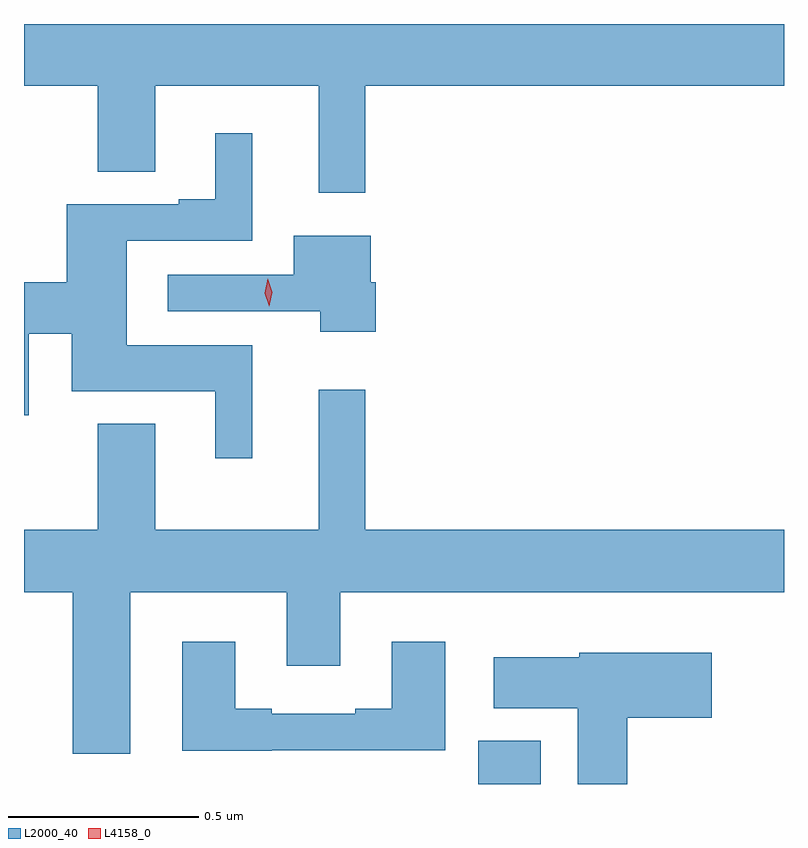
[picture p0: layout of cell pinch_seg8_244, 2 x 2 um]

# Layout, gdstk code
import gdstk
lib = gdstk.Library(unit=1e-6, precision=1e-09)
def R(c, l, rs):  # rectangles x0, y0, x1, y1
    for r in rs: c.add(gdstk.rectangle(r[:2], r[2:], *l))
def P(c, l, *ps):  # polygons
    for p in ps: c.add(gdstk.Polygon(p, *l))
L2000_40 = (2000, 40)
L4158_0 = (4158, 0)

pinch_seg8_244 = lib.new_cell('pinch_seg8_244')
R(pinch_seg8_244, L2000_40, [(805.571,1115.995,805.735,1116.109)])
P(pinch_seg8_244, L2000_40, [(805.273,1117.832),(806.375,1117.832),(806.375,1117.995),(804.375,1117.995),(804.375,1117.832),(804.569,1117.832),(804.569,1117.606),(804.721,1117.606),(804.721,1117.832),(805.151,1117.832),(805.151,1117.551),(805.273,1117.551)],
  [(804.976,1117.15),(804.646,1117.15),(804.646,1117.425),(804.976,1117.425),(804.976,1117.708),(804.878,1117.708),(804.878,1117.534),(804.782,1117.534),(804.782,1117.521),(804.488,1117.521),(804.488,1117.316),(804.375,1117.316),(804.375,1116.966),(804.387,1116.966),(804.387,1117.18),(804.5,1117.18),(804.5,1117.028),(804.878,1117.028),(804.878,1116.852),(804.976,1116.852)],
  [(805.301,1117.316),(805.288,1117.316),(805.288,1117.438),(805.085,1117.438),(805.085,1117.335),(804.753,1117.335),(804.753,1117.239),(805.154,1117.239),(805.154,1117.185),(805.301,1117.185)],
  [(804.655,1116.5),(805.067,1116.5),(805.067,1116.306),(805.207,1116.306),(805.207,1116.5),(806.375,1116.5),(806.375,1116.664),(805.273,1116.664),(805.273,1117.033),(805.151,1117.033),(805.151,1116.664),(804.721,1116.664),(804.721,1116.943),(804.569,1116.943),(804.569,1116.664),(804.375,1116.664),(804.375,1116.5),(804.503,1116.5),(804.503,1116.075),(804.655,1116.075)],
  [(805.027,1116.084),(805.483,1116.084),(805.483,1116.37),(805.343,1116.37),(805.343,1116.193),(805.247,1116.193),(805.247,1116.18),(805.027,1116.18),(805.027,1116.193),(804.931,1116.193),(804.931,1116.37),(804.791,1116.37),(804.791,1116.083),(805.027,1116.083)],
  [(805.962,1116.17),(806.185,1116.17),(806.185,1116.34),(805.836,1116.34),(805.836,1116.328),(805.611,1116.328),(805.611,1116.194),(805.832,1116.194),(805.832,1115.995),(805.962,1115.995)])
P(pinch_seg8_244, L4158_0, [(805.021,1117.252),(805.021,1117.252),(805.008,1117.287),(805.016,1117.324),(805.016,1117.324),(805.016,1117.324),(805.028,1117.289),(805.021,1117.252)])

lib.write_gds('pinch_seg8_244.gds')
